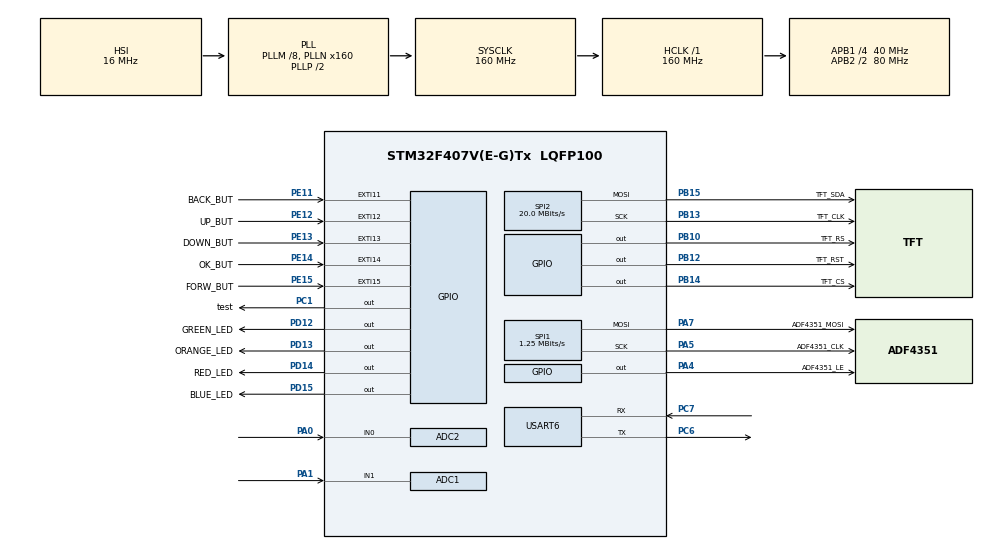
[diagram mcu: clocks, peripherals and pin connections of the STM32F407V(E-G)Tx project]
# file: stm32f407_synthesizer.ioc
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ADC1.Channel-0\#ChannelRegularConversion=ADC_CHANNEL_1
ADC1.ClockPrescaler=ADC_CLOCK_SYNC_PCLK_DIV4
ADC1.Mode=ADC_DUALMODE_REGSIMULT
ADC1.NbrOfConversionFlag=1
ADC1.Rank-0\#ChannelRegularConversion=1
ADC1.SamplingTime-0\#ChannelRegularConversion=ADC_SAMPLETIME_3CYCLES
ADC1.master=1
ADC2.Channel-2\#ChannelRegularConversion=ADC_CHANNEL_0
ADC2.Mode=ADC_DUALMODE_REGSIMULT
ADC2.NbrOfConversionFlag=1
ADC2.Rank-2\#ChannelRegularConversion=1
ADC2.SamplingTime-2\#ChannelRegularConversion=ADC_SAMPLETIME_3CYCLES
Mcu.Family=STM32F4
Mcu.Name=STM32F407V(E-G)Tx
Mcu.Package=LQFP100
NVIC.ADC_IRQn=true\:0\:0\:false\:false\:true\:true\:true\:true
NVIC.EXTI15_10_IRQn=true\:0\:0\:false\:false\:true\:true\:true\:true
NVIC.PriorityGroup=NVIC_PRIORITYGROUP_4
NVIC.USART6_IRQn=true\:0\:0\:false\:false\:true\:true\:true\:true
PA0-WKUP.Signal=ADCx_IN0
PA1.Signal=ADCx_IN1
PA4.GPIO_Label=ADF4351_LE
PA4.Signal=GPIO_Output
PA5.GPIO_Label=ADF4351_CLK
PA5.Mode=TX_Only_Simplex_Unidirect_Master
PA5.Signal=SPI1_SCK
PA7.GPIO_Label=ADF4351_MOSI
PA7.Mode=TX_Only_Simplex_Unidirect_Master
PA7.Signal=SPI1_MOSI
PB10.GPIO_Label=TFT_RS
PB10.Signal=GPIO_Output
PB12.GPIO_Label=TFT_RST
PB12.Signal=GPIO_Output
PB13.GPIO_Label=TFT_CLK
PB13.Mode=TX_Only_Simplex_Unidirect_Master
PB13.Signal=SPI2_SCK
PB14.GPIO_Label=TFT_CS
PB14.Signal=GPIO_Output
PB15.GPIO_Label=TFT_SDA
PB15.Mode=TX_Only_Simplex_Unidirect_Master
PB15.Signal=SPI2_MOSI
PC1.GPIO_Label=test
PC1.Signal=GPIO_Output
PC6.Mode=Asynchronous
PC6.Signal=USART6_TX
PC7.Mode=Asynchronous
PC7.Signal=USART6_RX
PD12.GPIO_Label=GREEN_LED
PD12.Signal=GPIO_Output
PD13.GPIO_Label=ORANGE_LED
PD13.Signal=GPIO_Output
PD14.GPIO_Label=RED_LED
PD14.Signal=GPIO_Output
PD15.GPIO_Label=BLUE_LED
PD15.Signal=GPIO_Output
PE11.GPIO_Label=BACK_BUT
PE11.GPIO_PuPd=GPIO_PULLUP
PE11.Signal=GPXTI11
PE12.GPIO_Label=UP_BUT
PE12.GPIO_PuPd=GPIO_PULLUP
PE12.Signal=GPXTI12
PE13.GPIO_Label=DOWN_BUT
PE13.GPIO_PuPd=GPIO_PULLUP
PE13.Signal=GPXTI13
PE14.GPIO_Label=OK_BUT
PE14.GPIO_PuPd=GPIO_PULLUP
PE14.Signal=GPXTI14
PE15.GPIO_Label=FORW_BUT
PE15.GPIO_PuPd=GPIO_PULLUP
PE15.Signal=GPXTI15
PH0-OSC_IN.Mode=HSE-External-Oscillator
PH0-OSC_IN.Signal=RCC_OSC_IN
PH1-OSC_OUT.Mode=HSE-External-Oscillator
PH1-OSC_OUT.Signal=RCC_OSC_OUT
ProjectManager.HeapSize=0x200
ProjectManager.StackSize=0x400
ProjectManager.TargetToolchain=STM32CubeIDE
RCC.48MHZClocksFreq_Value=80000000
RCC.AHBFreq_Value=160000000
RCC.APB1CLKDivider=RCC_HCLK_DIV4
RCC.APB1Freq_Value=40000000
RCC.APB1TimFreq_Value=80000000
RCC.APB2CLKDivider=RCC_HCLK_DIV2
RCC.APB2Freq_Value=80000000
RCC.APB2TimFreq_Value=160000000
RCC.CortexFreq_Value=160000000
RCC.HCLKFreq_Value=160000000
RCC.HSE_VALUE=25000000
RCC.HSI_VALUE=16000000
RCC.LSE_VALUE=32768
RCC.PLLM=8
RCC.PLLN=160
RCC.SYSCLKFreq_VALUE=160000000
RCC.SYSCLKSource=RCC_SYSCLKSOURCE_PLLCLK
RCC.VCOOutputFreq_Value=320000000
SH.ADCx_IN0.0=ADC2_IN0,IN0
SH.ADCx_IN1.0=ADC1_IN1,IN1
SPI1.BaudRatePrescaler=SPI_BAUDRATEPRESCALER_64
SPI1.CalculateBaudRate=1.25 MBits/s
SPI1.Direction=SPI_DIRECTION_2LINES
SPI1.Mode=SPI_MODE_MASTER
SPI1.VirtualType=VM_MASTER
SPI2.BaudRatePrescaler=SPI_BAUDRATEPRESCALER_2
SPI2.CalculateBaudRate=20.0 MBits/s
SPI2.Direction=SPI_DIRECTION_2LINES
SPI2.Mode=SPI_MODE_MASTER
SPI2.VirtualType=VM_MASTER
TIM1.AutoReloadPreload=TIM_AUTORELOAD_PRELOAD_DISABLE
TIM1.Prescaler=160-1
TIM2.Prescaler=80-1
USART6.VirtualMode=VM_ASYNC
VP_TIM1_VS_ClockSourceINT.Mode=Internal
VP_TIM2_VS_ClockSourceINT.Mode=Internal
board=custom

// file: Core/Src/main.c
/* USER CODE BEGIN Header */
/**
  ******************************************************************************
  * @file           : main.c
  * @brief          : Main program body
  ******************************************************************************
  * @attention
  *
  * Copyright (c) 2025 STMicroelectronics.
  * All rights reserved.
  *
  * This software is licensed under terms that can be found in the LICENSE file
  * in the root directory of this software component.
  * If no LICENSE file comes with this software, it is provided AS-IS.
  *
  ******************************************************************************
  */
/* USER CODE END Header */
#include "main.h"
#include "adc.h"
#include "spi.h"
#include "tim.h"
#include "usart.h"
#include "gpio.h"

/* USER CODE BEGIN Includes */
#include "ILI9225.h"
#include "adf4351_hmi.h"
#include "adf4351.h"
#include "math.h"
#include "stdio.h"
#include "string.h"
#include "stdlib.h"
/* USER CODE END Includes */

/* USER CODE BEGIN PD */
#define BUF_SIZE 	50
/* USER CODE END PD */

/* USER CODE BEGIN PV */
extern volatile hmi_status hmi;
extern uint16_t volatile vmag[1000];
extern uint16_t volatile vmag_val;
extern uint16_t volatile vphs_val;
extern uint16_t volatile vmag_min;
extern uint16_t volatile vmag_ave;
extern uint16_t volatile vmag_idx;
extern uint8_t  volatile vmag_offset;
extern uint16_t volatile vmag_upper_bound;
extern uint16_t volatile vmag_lower_bound;

extern uint8_t  volatile y_min_val;
extern uint8_t  volatile y_max_val;
extern uint8_t  volatile y_mean_val;
extern uint8_t  volatile y_curr_val;
extern uint8_t  volatile x_curr_val;
extern uint8_t  volatile y_prev_val;
extern uint8_t  volatile x_prev_val;

extern uint8_t volatile is_default;
extern uint8_t volatile is_scanning;
uint16_t volatile idx = 0;

// Will move to a separate file for USART later
uint8_t rxBuf[BUF_SIZE];
uint8_t rxTemp;
uint8_t rxCnt = 0;
uint8_t isAppRun = FALSE;
uint8_t isHeaderSent = FALSE;
/* USER CODE END PV */

void SystemClock_Config(void);

/* USER CODE BEGIN 0 */
// This function allows WindowApp to control the freq parameters
// No more control via LCD screen with button (slow & inefficient)
// State 'Set_RF_Range' reworks to 'Show_RF_Range' (could be removed!!) -> separate Ticket
void UART_Header_Rx(uint8_t *rxBuf)
{
    char temp[9]; // temporary buffer for hex fields
    // Extract slices and convert
    strncpy(temp, (const char *)rxBuf, 2);
    temp[2] = '\0';
    uint8_t firstBitStart = (uint8_t)strtoul(temp, NULL, 16);

    strncpy(temp, (const char *)rxBuf + 2, 8);
    temp[8] = '\0';
    uint32_t otherBitsStart = (uint32_t)strtoul(temp, NULL, 16);

    strncpy(temp, (const char *)rxBuf + 10, 2);
    temp[2] = '\0';
    uint8_t firstBitStop = (uint8_t)strtoul(temp, NULL, 16);

    strncpy(temp, (const char *)rxBuf + 12, 8);
    temp[8] = '\0';
    uint32_t otherBitsStop = (uint32_t)strtoul(temp, NULL, 16);

    strncpy(temp, (const char *)rxBuf + 20, 8);
    temp[8] = '\0';
    adf4351.step_freq = (uint64_t)strtoul(temp, NULL, 16);

    /* Reconstruct full values */
    adf4351.start_freq = (uint64_t)firstBitStart * 1000000000ULL + otherBitsStart;
    adf4351.stop_freq  = (uint64_t)firstBitStop  * 1000000000ULL + otherBitsStop;

    is_default = FALSE;
}

void HAL_UART_RxCpltCallback(UART_HandleTypeDef *huart)
{
	/* Prevent unused argument(s) compilation warning */
	UNUSED(huart);
	if(huart->Instance == USART6)
	{
		/* Each command, data ends with '\n' */
		if(rxTemp == '\n')
		{
			/* Manually add terminate character to the RxBuf */
			rxBuf[rxCnt] = '\0';
			rxCnt = 0;

			/* The data extraction is ONLY executed after START command */
			if(isHeaderSent)
			{
				isHeaderSent = FALSE;
				/* Extract freq information */
				UART_Header_Rx(rxBuf);
			}

			/* In case START/STOP commands */
			// WindowApp should block START button when it is already pressed
			// -> need to STOP first and vice versa
			if(strcmp((char *)rxBuf, "Start") == 0)
			{
				isAppRun = TRUE;
				isHeaderSent = TRUE;
			}
			else if(strcmp((char *)rxBuf, "Stop") == 0)
			{
				isAppRun = FALSE;

				/* Stop the current measurement and return to HOME menu */
			    if(hmi.curr_state == Plot_VMAG)
			    {
			        /* Toggle plotting just like GPIO OK button */
			        hmi.while_break = !hmi.while_break;
			    }
			    if(hmi.curr_state == Scan_RF_Out)
			    {
			    	is_scanning = FALSE;
			    }
			}

			/* In case ARROW navigator commands */
			if(strcmp((char *)rxBuf, "UP") == 0)
			{
			    hmi.button = UP;
			}
			else if(strcmp((char *)rxBuf, "DOWN") == 0)
			{
			    hmi.button = DOWN;
			}
			else if(strcmp((char *)rxBuf, "OK") == 0)
			{
			    hmi.button = OK;

			    if(hmi.curr_state == Plot_VMAG)
			    {
			        /* Toggle plotting just like GPIO OK button */
			        hmi.while_break = !hmi.while_break;
			    }
			}
			else if(strcmp((char *)rxBuf, "BACK") == 0)
			{
			    hmi.button = BACK;

			    if(hmi.curr_state == Plot_VMAG && hmi.while_break == FALSE)
			    {
			        hmi.while_break = TRUE;
			    }
			}
			else if(strcmp((char *)rxBuf, "FORW") == 0)
			{
			    hmi.button = FORW;
			}
		}
		else
		{
			/* Keep reading data until reaching '\n' character */
			if(rxCnt < BUF_SIZE - 1) rxBuf[rxCnt++] = rxTemp;
			else rxCnt = 0;
		}
		/* Restart the interrupt reception for next byte */
		HAL_UART_Receive_IT(huart, &rxTemp, 1);
	}
}

void HAL_GPIO_EXTI_Callback(uint16_t GPIO_Pin)
{
  /* Prevent unused argument(s) compilation warning */
  UNUSED(GPIO_Pin);

  if(hmi.button == NONE)
  {
	  if(GPIO_Pin == BACK_BUT_Pin)
	  {
		  hmi.button = BACK;

		  if(hmi.curr_state == Plot_VMAG)
		  {
			  /* Make sure the plotting is stopped before exiting the stage */
			  if (hmi.while_break == FALSE) hmi.while_break = TRUE;
		  }
	  }

	  if (GPIO_Pin == UP_BUT_Pin)
	  {
		  hmi.button = UP;
	  }

	  if (GPIO_Pin == DOWN_BUT_Pin)
	  {
		  hmi.button = DOWN;
	  }

	  if (GPIO_Pin == OK_BUT_Pin)
	  {
		  hmi.button = OK;

		  if(hmi.curr_state == Plot_VMAG)
		  {
			  /* Toggle to Start/Stop plotting */
			  if (hmi.while_break == TRUE) hmi.while_break = FALSE;
			  else hmi.while_break = TRUE;
		  }

		  if(hmi.curr_state == Scan_RF_Out)
		  {
			  is_scanning = FALSE;
		  }
	  }

	  if (GPIO_Pin == FORW_BUT_Pin)
	  {
		  hmi.button = FORW;
	  }
  }
}

void HAL_ADC_ConvCpltCallback(ADC_HandleTypeDef *hadc)
{
	/* Prevent unused argument(s) compilation warning */
	UNUSED(hadc);
	if(hadc->Instance == ADC1)
	{
		/* Reset the screen condition */
		if(vmag_idx == SAMPLES+OFFSET)
		{
			vmag_idx = 0;
			vmag_ave = 0;
			Clear_Screen_Custom(X_AXIS_LEFT+1,Y_AXIS_TOP,X_AXIS_RIGHT,Y_AXIS_BOT-1);
		}

		/* Read VMAG values from ADC */
//        uint32_t packed = HAL_ADCEx_MultiModeGetValue(hadc);
//        uint16_t adc1_val = (uint16_t)(packed & 0xFFFF);
//        uint16_t adc2_val = (uint16_t)(packed >> 16);

		vmag_val = HAL_ADC_GetValue(&adf4351_hadc);
//		vphs_val = 0;
		vphs_val = HAL_ADC_GetValue(&adf4351_hadc2);

		char txBuf[12];
		sprintf(txBuf, "%04X%04X\n", (uint16_t)vmag_val, (uint16_t)vphs_val);
		HAL_UART_Transmit(&huart6, (uint8_t *)txBuf, strlen(txBuf), 10);

		if( vmag_val < vmag_min)
		{
			vmag_min = vmag_val;
			adf4351.scan_freq = adf4351.calc_freq;
//			vmag_val-=1000;
		}
		/* Convert to db using equation: vmag_db = 20*log10(vmag)
		 * Scaled by 100 for plotting purpose */
		vmag_val = 20*log10(vmag_val+1) * 100;
		vmag[idx] = vmag_val;
		idx++;

//		/* The first OFFSET values to find VMAG average */
//		if(vmag_idx < OFFSET)
//		{
//			vmag_ave += vmag_val;
//		}
//		else
//		{
//			if(vmag_idx == OFFSET)
//			{
//				vmag_ave /= OFFSET;
//				y_mean_val = y_max_val-y_min_val+1;
//				vmag_upper_bound = y_max_val * vmag_ave / y_mean_val;
//				vmag_lower_bound = y_min_val * vmag_ave / y_mean_val;
//			}
//
//			/* Draw the pattern */
//			x_curr_val = (vmag_idx-OFFSET) + (X_AXIS_LEFT+1);
//			if(vmag_val > vmag_upper_bound) y_curr_val = y_min_val;
//			else if(vmag_val < vmag_lower_bound) y_curr_val = y_max_val;
//			else y_curr_val = (vmag_val * y_mean_val) / vmag_ave;
//
//			/* The higher y_value, the lower the y-plot */
//			y_curr_val = y_curr_val + 2*(y_mean_val-y_curr_val);
//
//			if(vmag_idx > OFFSET)
//			{
//				Bresenham_line_algorithm(x_prev_val, y_prev_val, x_curr_val, y_curr_val);
//			}
//
//			y_prev_val = y_curr_val;
//			x_prev_val = x_curr_val;
//		}
//		vmag_idx++;
	}
}
/* USER CODE END 0 */

int main(void)
{

  /* MCU Configuration--------------------------------------------------------*/

  /* Reset of all peripherals, Initializes the Flash interface and the Systick. */
  HAL_Init();

  /* Configure the system clock */
  SystemClock_Config();

  /* Initialize all configured peripherals */
  MX_GPIO_Init();
  MX_SPI2_Init();
  MX_TIM1_Init();
  MX_ADC1_Init();
  MX_SPI1_Init();
  MX_TIM2_Init();
  MX_USART6_UART_Init();
  MX_ADC2_Init();
  /* USER CODE BEGIN 2 */
  lcd_init();
  HMI_Init();
  Welcome();

  /* First start the UART interrupt reception */
  HAL_UART_Receive_IT(&huart6, &rxTemp, 1);
  /* USER CODE END 2 */

  /* Infinite loop */
  /* USER CODE BEGIN WHILE */
  while (1)
  {
	  while(!hmi.state_hold)
	  {
		  hmi.curr_state();
	  }
    /* USER CODE END WHILE */

  }
}

void SystemClock_Config(void)
{
  RCC_OscInitTypeDef RCC_OscInitStruct = {0};
  RCC_ClkInitTypeDef RCC_ClkInitStruct = {0};

  /** Configure the main internal regulator output voltage
  */
  __HAL_RCC_PWR_CLK_ENABLE();
  __HAL_PWR_VOLTAGESCALING_CONFIG(PWR_REGULATOR_VOLTAGE_SCALE1);

  /** Initializes the RCC Oscillators according to the specified parameters
  * in the RCC_OscInitTypeDef structure.
  */
  RCC_OscInitStruct.OscillatorType = RCC_OSCILLATORTYPE_HSI;
  RCC_OscInitStruct.HSIState = RCC_HSI_ON;
  RCC_OscInitStruct.HSICalibrationValue = RCC_HSICALIBRATION_DEFAULT;
  RCC_OscInitStruct.PLL.PLLState = RCC_PLL_ON;
  RCC_OscInitStruct.PLL.PLLSource = RCC_PLLSOURCE_HSI;
  RCC_OscInitStruct.PLL.PLLM = 8;
  RCC_OscInitStruct.PLL.PLLN = 160;
  RCC_OscInitStruct.PLL.PLLP = RCC_PLLP_DIV2;
  RCC_OscInitStruct.PLL.PLLQ = 4;
  if (HAL_RCC_OscConfig(&RCC_OscInitStruct) != HAL_OK)
  {
    Error_Handler();
  }

  /** Initializes the CPU, AHB and APB buses clocks
  */
  RCC_ClkInitStruct.ClockType = RCC_CLOCKTYPE_HCLK|RCC_CLOCKTYPE_SYSCLK
                              |RCC_CLOCKTYPE_PCLK1|RCC_CLOCKTYPE_PCLK2;
  RCC_ClkInitStruct.SYSCLKSource = RCC_SYSCLKSOURCE_PLLCLK;
  RCC_ClkInitStruct.AHBCLKDivider = RCC_SYSCLK_DIV1;
  RCC_ClkInitStruct.APB1CLKDivider = RCC_HCLK_DIV4;
  RCC_ClkInitStruct.APB2CLKDivider = RCC_HCLK_DIV2;

  if (HAL_RCC_ClockConfig(&RCC_ClkInitStruct, FLASH_LATENCY_5) != HAL_OK)
  {
    Error_Handler();
  }
}

void Error_Handler(void)
{
  __disable_irq();
  while (1)
  {
  }
}
